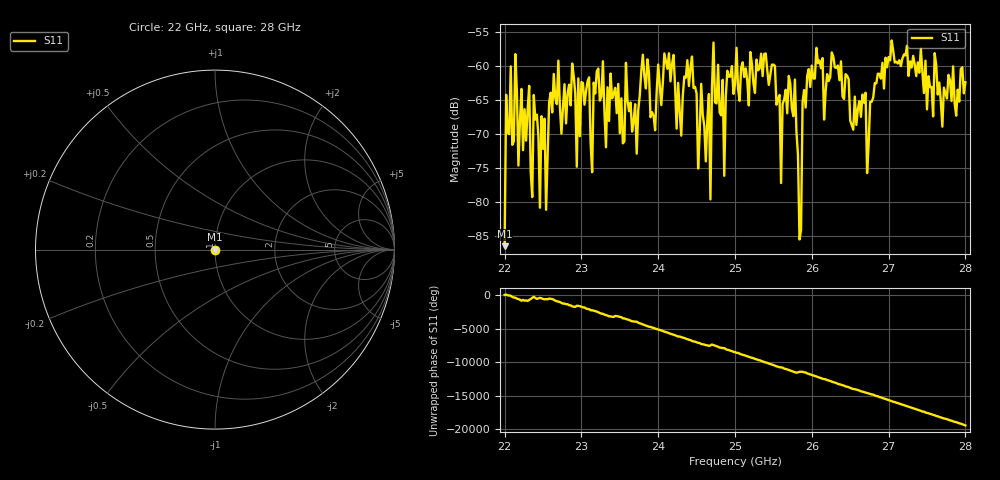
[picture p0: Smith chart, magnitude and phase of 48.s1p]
#  HZ  S  RI  R  50.00
! Rohde & Schwarz ZVA40 4Ports - Version 3.90 - 1145.1110k42 SN: 100403
! Date: 2023-10-04 11:26:54
! Measurement: S12
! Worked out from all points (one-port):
!   301 points, 22 GHz to 28 GHz, reference 50 ohm
!   lowest |S11| = -86.5 dB at 22 GHz (marker M1), VSWR 1.00, Z = 50 + j0.00366 ohm
!   |S11| at or under -10 dB: start of sweep to end of sweep
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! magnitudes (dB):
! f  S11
! 22 GHz  -86.5
! 22.02 GHz  -64.3
! 22.12 GHz  -71.1
! 22.14 GHz  -58.3
! 22.18 GHz  -74.7
! 22.32 GHz  -62.9
! 22.36 GHz  -79.3
! 22.38 GHz  -64.3
! 22.46 GHz  -80.9
! 22.48 GHz  -67.4
! 22.54 GHz  -81.2
! 22.64 GHz  -61.2
! 22.76 GHz  -66.1
! 23.5 GHz  -69.9
! 24.26 GHz  -62.5
! 24.52 GHz  -75.1
! 24.66 GHz  -64.1
! 24.68 GHz  -79.7
! 24.72 GHz  -56.6
! 24.86 GHz  -76.2
! 24.9 GHz  -60.7
! 25 GHz  -62.7
! 25.76 GHz  -67.4
! 25.84 GHz  -85.5
! 26.06 GHz  -57.4
! 26.5 GHz  -68.0
! 27.26 GHz  -61.5
! 28 GHz  -62.4
